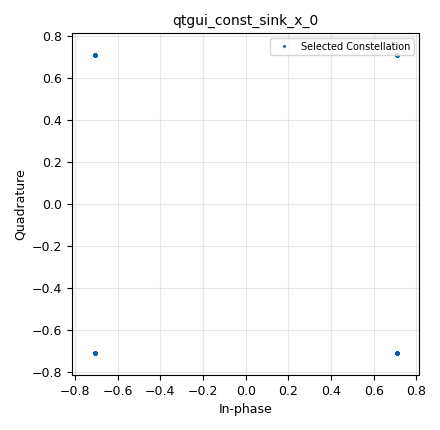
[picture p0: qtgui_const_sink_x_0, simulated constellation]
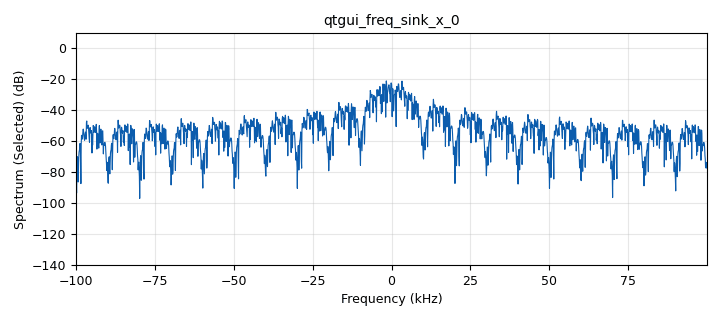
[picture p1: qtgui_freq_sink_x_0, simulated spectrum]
options:
  parameters:
    author: DJ2RF
    category: '[Digital Demos]'
    comment: ASK / PSK / QAM constellation demo (no hardware)
    description: Generate 4-ASK, BPSK, QPSK, 16QAM and show constellation
    generate_options: qt_gui
    id: ask_psk_qam_constellation
    output_language: python
    title: ASK / PSK / QAM Constellations (Baseband)
  states: {}

blocks:
- name: mode
  id: variable
  parameters:
    value: '2'
  states: {}
- name: samp_rate
  id: variable
  parameters:
    value: '200000'
  states: {}
- name: sps
  id: variable
  parameters:
    value: int(samp_rate/sym_rate)
  states: {}
- name: sym_rate
  id: variable
  parameters:
    value: '10000'
  states: {}
- name: analog_random_source_x_16qam
  id: analog_random_source_x
  parameters:
    max: '16'
    min: '0'
    num_samps: '1000'
    repeat: 'True'
    type: int
  states: {}
- name: analog_random_source_x_ask
  id: analog_random_source_x
  parameters:
    max: '4'
    min: '0'
    num_samps: '1000'
    repeat: 'True'
    type: int
  states: {}
- name: analog_random_source_x_bpsk
  id: analog_random_source_x
  parameters:
    max: '2'
    min: '0'
    num_samps: '1000'
    repeat: 'True'
    type: int
  states: {}
- name: analog_random_source_x_qpsk
  id: analog_random_source_x
  parameters:
    max: '4'
    min: '0'
    num_samps: '1000'
    repeat: 'True'
    type: int
  states: {}
- name: blocks_float_to_complex_ask
  id: blocks_float_to_complex
  parameters: {}
  states: {}
- name: blocks_repeat_16qam
  id: blocks_repeat
  parameters:
    interp: sps
    type: complex
  states: {}
- name: blocks_repeat_ask
  id: blocks_repeat
  parameters:
    interp: sps
    type: float
  states: {}
- name: blocks_repeat_bpsk
  id: blocks_repeat
  parameters:
    interp: sps
    type: complex
  states: {}
- name: blocks_repeat_qpsk
  id: blocks_repeat
  parameters:
    interp: sps
    type: complex
  states: {}
- name: blocks_selector_0
  id: blocks_selector
  parameters:
    enabled: 'True'
    input_index: mode
    num_inputs: '4'
    num_outputs: '1'
    output_index: '0'
    type: complex
  states: {}
- name: blocks_throttle_0
  id: blocks_throttle
  parameters:
    samples_per_second: samp_rate
    type: complex
  states: {}
- name: digital_chunks_to_symbols_xx_16qam
  id: digital_chunks_to_symbols_xx
  parameters:
    dimension: '1'
    in_type: int
    out_type: complex
    symbol_table: '[ (-3-3j)/3.1623, (-3-1j)/3.1623, (-3+1j)/3.1623, (-3+3j)/3.1623, (-1-3j)/3.1623, (-1-1j)/3.1623, (-1+1j)/3.1623, (-1+3j)/3.1623, ( 1-3j)/3.1623, ( 1-1j)/3.1623, ( 1+1j)/3.1623, ( 1+3j)/3.1623, ( 3-3j)/3.1623, ( 3-1j)/3.1623, ( 3+1j)/3.1623, ( 3+3j)/3.1623 ]'
  states: {}
- name: digital_chunks_to_symbols_xx_ask
  id: digital_chunks_to_symbols_xx
  parameters:
    dimension: '1'
    in_type: int
    out_type: float
    symbol_table: '[0.25, 0.5, 0.75, 1.0]'
  states: {}
- name: digital_chunks_to_symbols_xx_bpsk
  id: digital_chunks_to_symbols_xx
  parameters:
    dimension: '1'
    in_type: int
    out_type: complex
    symbol_table: '[-1+0j, 1+0j]'
  states: {}
- name: digital_chunks_to_symbols_xx_qpsk
  id: digital_chunks_to_symbols_xx
  parameters:
    dimension: '1'
    in_type: int
    out_type: complex
    symbol_table: '[0.707+0.707j, 0.707-0.707j, -0.707+0.707j, -0.707-0.707j]'
  states: {}
- name: qtgui_const_sink_x_0
  id: qtgui_const_sink_x
  parameters:
    autoscale: 'True'
    grid: 'True'
    label1: Selected Constellation
    size: '2048'
    type: complex
  states: {}
- name: qtgui_freq_sink_x_0
  id: qtgui_freq_sink_x
  parameters:
    bw: samp_rate
    fc: '0'
    fftsize: '2048'
    label: Spectrum (Selected)
    type: complex
  states: {}

connections:
- [analog_random_source_x_16qam, '0', digital_chunks_to_symbols_xx_16qam, '0']
- [analog_random_source_x_ask, '0', digital_chunks_to_symbols_xx_ask, '0']
- [analog_random_source_x_bpsk, '0', digital_chunks_to_symbols_xx_bpsk, '0']
- [analog_random_source_x_qpsk, '0', digital_chunks_to_symbols_xx_qpsk, '0']
- [blocks_float_to_complex_ask, '0', blocks_selector_0, '0']
- [blocks_repeat_16qam, '0', blocks_selector_0, '3']
- [blocks_repeat_ask, '0', blocks_float_to_complex_ask, '0']
- [blocks_repeat_bpsk, '0', blocks_selector_0, '1']
- [blocks_repeat_qpsk, '0', blocks_selector_0, '2']
- [blocks_selector_0, '0', blocks_throttle_0, '0']
- [blocks_throttle_0, '0', qtgui_const_sink_x_0, '0']
- [blocks_throttle_0, '0', qtgui_freq_sink_x_0, '0']
- [digital_chunks_to_symbols_xx_16qam, '0', blocks_repeat_16qam, '0']
- [digital_chunks_to_symbols_xx_ask, '0', blocks_repeat_ask, '0']
- [digital_chunks_to_symbols_xx_bpsk, '0', blocks_repeat_bpsk, '0']
- [digital_chunks_to_symbols_xx_qpsk, '0', blocks_repeat_qpsk, '0']

metadata:
  file_format: 1
  grc_version: 3.10.9.2
